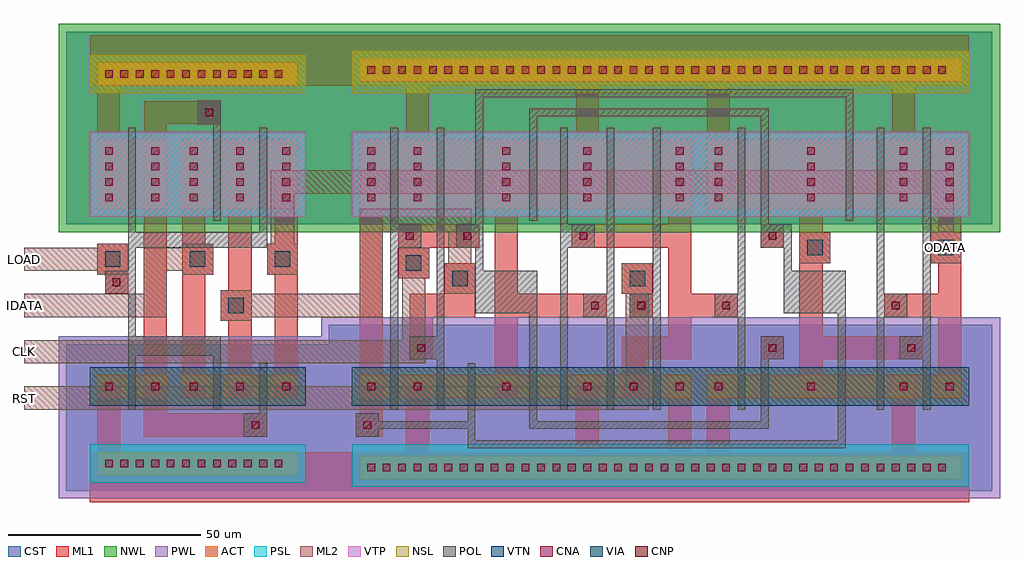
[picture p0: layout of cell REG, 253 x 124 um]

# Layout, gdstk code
import gdstk
lib = gdstk.Library(unit=1e-6, precision=1e-09)
def R(c, l, rs):  # rectangles x0, y0, x1, y1
    for r in rs: c.add(gdstk.rectangle(r[:2], r[2:], *l))
def A(c, l, x, y, w, h, nx, ny, dx, dy):  # array of equal rectangles
    R(c, l, [(x+i*dx, y+j*dy, x+i*dx+w, y+j*dy+h) for i in range(nx) for j in range(ny)])
NWL = (1, 0)
PWL = (2, 0)
CST = (3, 0)
ACT = (4, 0)
VTN = (5, 0)
VTP = (6, 0)
POL = (7, 0)
NSL = (8, 0)
PSL = (9, 0)
CNA = (10, 0)
CNP = (11, 0)
ML1 = (12, 0)
VIA = (13, 0)
ML2 = (14, 0)

dff_r = lib.new_cell('dff_r')
R(dff_r, NWL, [(-8,70,168,120)])
R(dff_r, PWL, [(-8,1,168,48)])
R(dff_r, CST, [(-6,3,166,46), (-6,72,166,118)])
R(dff_r, ACT, [(2,6,158,12), (2,27,88,33), (92,27,158,33), (2,76,88,94), (92,76,158,94), (2,109,158,115)])
R(dff_r, VTN, [(0,25,160,35)])
R(dff_r, VTP, [(0,74,160,96)])
A(dff_r, POL, 54, 24, 2, 73, 3, 1, 12, 0)
R(dff_r, POL, [(30,14,32,21), (32,14,126,16), (126,14,128,25), (1,17,7,23), (7,19,30,21), (46,19,48,49), (48,19,106,21), (106,19,108,25), (30,21,32,36), (10,24,12,97), (22,24,24,97), (100,24,102,97), (136,24,138,97), (148,24,150,97), (106,25,108,37), (126,25,128,49), (15,37,21,43), (21,37,22,43), (106,37,112,43), (142,37,148,43), (60,48,66,54), (72,48,78,54), (94,48,100,54), (138,48,144,54), (32,49,48,60), (112,49,128,60), (32,60,34,105), (112,60,114,72), (12,66,18,72), (27,66,33,72), (55,66,57,72), (57,66,63,72), (106,66,112,72), (106,72,108,96), (46,73,48,102), (128,73,130,107), (106,96,108,102), (48,100,106,102), (32,105,128,107)])
R(dff_r, NSL, [(0,25,160,35), (0,106,160,117)])
R(dff_r, PSL, [(0,4,160,15), (0,74,160,96)])
A(dff_r, CNA, 4, 8, 2, 2, 38, 2, 4, 103)
A(dff_r, CNA, 60, 29, 2, 2, 3, 1, 12, 0)
A(dff_r, CNA, 94, 29, 2, 2, 3, 2, 24, 49)
A(dff_r, CNA, 4, 78, 2, 2, 1, 4, 0, 4)
A(dff_r, CNA, 16, 78, 2, 2, 1, 4, 0, 4)
A(dff_r, CNA, 39, 78, 2, 2, 1, 4, 0, 4)
A(dff_r, CNA, 60, 78, 2, 2, 1, 4, 0, 4)
A(dff_r, CNA, 84, 78, 2, 2, 1, 4, 0, 4)
A(dff_r, CNA, 154, 78, 2, 2, 1, 4, 0, 4)
A(dff_r, CNA, 94, 82, 2, 2, 3, 3, 24, 4)
R(dff_r, CNA, [(4,29,6,31), (16,29,18,31), (39,29,41,31), (154,29,156,31)])
R(dff_r, CNP, [(3,19,5,21), (17,39,19,41), (108,39,110,41), (144,39,146,41), (62,50,64,52), (74,50,76,52), (96,50,98,52), (140,50,142,52), (14,68,16,70), (29,68,31,70), (59,68,61,70), (108,68,110,70)])
R(dff_r, ML1, [(0,0,160,12), (58,6,64,33), (82,6,88,33), (92,6,98,33), (140,6,146,33), (14,12,20,33), (1,17,7,23), (2,17,8,27), (2,27,8,33), (37,27,43,94), (70,27,76,37), (116,27,122,94), (152,27,158,94), (2,33,8,94), (15,37,21,43), (70,37,82,43), (82,37,88,72), (106,37,112,43), (122,37,142,43), (142,37,148,43), (15,43,21,48), (15,48,32,54), (42,48,60,54), (60,48,66,54), (72,48,78,54), (88,48,94,54), (94,48,100,54), (138,48,144,54), (144,48,152,54), (24,54,32,62), (70,54,78,62), (12,58,20,66), (116,62,124,70), (150,62,158,70), (12,66,18,72), (18,66,27,72), (27,66,33,72), (57,66,63,72), (63,66,82,72), (106,66,112,72), (82,72,88,94), (14,76,20,115), (14,76,20,82), (58,76,64,115), (92,76,98,115), (140,76,146,115), (0,109,160,121)])
R(dff_r, VIA, [(26,56,30,60), (72,56,76,60), (14,60,18,64), (118,64,122,68), (152,64,156,68)])
R(dff_r, ML2, [(24,54,32,62), (70,54,78,62), (12,58,20,66), (116,62,124,70), (150,62,158,70)])
dff_r.add(gdstk.Label('Gnd', (3,1), layer=12, texttype=0))
dff_r.add(gdstk.Label('Vdd', (3,116), layer=12, texttype=0))
dff_r.add(gdstk.Label('QB', (117,58), layer=12, texttype=0))
dff_r.add(gdstk.Label('Q', (155,58), layer=12, texttype=0))
dff_r.add(gdstk.Label('CK', (13,59), layer=12, texttype=0))
dff_r.add(gdstk.Label('D', (25,55), layer=12, texttype=0))
dff_r.add(gdstk.Label('R', (71,55), layer=12, texttype=0))

muxx2 = lib.new_cell('MUXX2')
R(muxx2, NWL, [(-8,69,64,123)])
R(muxx2, PWL, [(-8,0,64,42)])
R(muxx2, CST, [(-6,2,62,40), (-6,71,62,121)])
R(muxx2, ACT, [(2,6,54,12), (2,26,20,32), (24,26,54,32), (2,75,20,93), (24,75,54,93), (2,107,54,113)])
R(muxx2, VTN, [(0,24,56,34)])
R(muxx2, VTP, [(0,73,56,95)])
R(muxx2, POL, [(40,16,46,22), (44,22,46,24), (10,23,12,96), (32,23,34,34), (44,24,46,35), (32,34,34,37), (12,37,34,42), (4,53,10,59), (12,65,46,69), (44,69,46,73), (32,72,34,95), (44,73,46,96), (32,95,34,97), (28,97,34,103)])
R(muxx2, NSL, [(0,24,56,34), (0,105,56,115)])
R(muxx2, PSL, [(0,4,56,14), (0,73,56,95)])
A(muxx2, CNA, 4, 8, 2, 2, 12, 2, 4, 101)
A(muxx2, CNA, 26, 28, 2, 2, 3, 2, 12, 49)
A(muxx2, CNA, 4, 77, 2, 2, 1, 4, 0, 4)
A(muxx2, CNA, 16, 77, 2, 2, 1, 4, 0, 4)
A(muxx2, CNA, 26, 81, 2, 2, 3, 3, 12, 4)
R(muxx2, CNA, [(4,28,6,30), (16,28,18,30)])
R(muxx2, CNP, [(42,18,44,20), (6,55,8,57), (30,99,32,101)])
A(muxx2, ML1, 24, 26, 6, 67, 3, 1, 12, 0)
A(muxx2, ML1, 2, 58, 8, 8, 3, 1, 22, 0)
R(muxx2, ML1, [(0,0,56,12), (2,12,8,32), (14,16,40,22), (40,16,46,22), (14,22,20,26), (14,26,20,93), (34,46,42,54), (4,53,10,59), (2,75,8,107), (14,93,20,97), (14,97,28,103), (28,97,34,103), (0,107,56,119)])
A(muxx2, VIA, 4, 60, 4, 4, 3, 1, 22, 0)
R(muxx2, VIA, [(36,48,40,52)])
A(muxx2, ML2, 2, 58, 8, 8, 3, 1, 22, 0)
R(muxx2, ML2, [(34,46,42,54)])
muxx2.add(gdstk.Label('S', (3,59), layer=12, texttype=0))
muxx2.add(gdstk.Label('B', (47,59), layer=12, texttype=0))
muxx2.add(gdstk.Label('Y', (35,47), layer=12, texttype=0))
muxx2.add(gdstk.Label('A', (25,59), layer=12, texttype=0))
muxx2.add(gdstk.Label('Vdd', (7,114), layer=12, texttype=0))
muxx2.add(gdstk.Label('Gnd', (7,2), layer=12, texttype=0))

reg = lib.new_cell('REG')
R(reg, NWL, [(-4,120,168,124)])
R(reg, CST, [(-6,118,166,122)])
R(reg, ML1, [(-68,0,160,13), (-12,0,0,13), (-68,108,160,121), (-12,108,0,121)])
reg.add(gdstk.FlexPath([(-18,63),(-18,83),(153,83),(153,65)], 6, ends="extended", simple_path=True, layer=14, datatype=0))  # ML2
reg.add(gdstk.FlexPath([(74,58),(74,27),(-82,27)], 6, ends="extended", simple_path=True, layer=14, datatype=0))  # ML2
reg.add(gdstk.FlexPath([(-40,63),(-51,63),(-51,51),(-82,51)], 6, ends="extended", simple_path=True, layer=14, datatype=0))  # ML2
reg.add(gdstk.FlexPath([(-62,63),(-82,63)], 6, ends="extended", simple_path=True, layer=14, datatype=0))  # ML2
reg.add(gdstk.FlexPath([(-30,51),(5,51),(5,73),(28,73),(28,58)], 6, ends="extended", simple_path=True, layer=14, datatype=0))  # ML2
reg.add(gdstk.FlexPath([(16,62),(16,39),(-82,39)], 6, ends="extended", simple_path=True, layer=14, datatype=0))  # ML2
reg.add(gdstk.Reference(dff_r, (0,0)))
reg.add(gdstk.Reference(muxx2, (-68,1)))
reg.add(gdstk.Label('RST', (-85,27), layer=14, texttype=0))
reg.add(gdstk.Label('IDATA', (-85,51), layer=14, texttype=0))
reg.add(gdstk.Label('LOAD', (-85,63), layer=14, texttype=0))
reg.add(gdstk.Label('CLK', (-85,39), layer=14, texttype=0))
reg.add(gdstk.Label('ODATA', (154,66), layer=14, texttype=0))

lib.write_gds('REG.gds')
